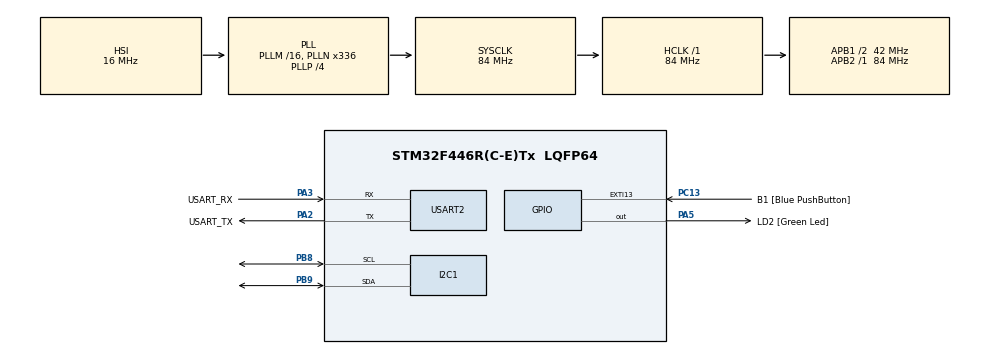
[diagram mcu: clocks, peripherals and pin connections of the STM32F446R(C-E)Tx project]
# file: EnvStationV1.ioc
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FREERTOS.Mutexes01=I2CMutex,Dynamic,NULL,Available
FREERTOS.Tasks01=defaultTask,24,128,StartDefaultTask,Default,NULL,Dynamic,NULL,NULL;ImuTask,24,512,StartImuTask,Default,NULL,Dynamic,NULL,NULL;DisplayTask,24,512,StartDisplayTask,Default,NULL,Dynamic,NULL,NULL;EnvTask,24,512,StartEnvTask,Default,NULL,Dynamic,NULL,NULL
FREERTOS.configUSE_NEWLIB_REENTRANT=1
Mcu.Family=STM32F4
Mcu.Name=STM32F446R(C-E)Tx
Mcu.Package=LQFP64
NVIC.PriorityGroup=NVIC_PRIORITYGROUP_4
NVIC.TIM6_DAC_IRQn=true\:15\:0\:false\:false\:true\:false\:false\:true\:true
NVIC.TimeBase=TIM6_DAC_IRQn
NVIC.TimeBaseIP=TIM6
PA13.GPIO_Label=TMS
PA13.Signal=SYS_JTMS-SWDIO
PA14.GPIO_Label=TCK
PA14.Signal=SYS_JTCK-SWCLK
PA2.GPIO_Label=USART_TX
PA2.Mode=Asynchronous
PA2.Signal=USART2_TX
PA3.GPIO_Label=USART_RX
PA3.Mode=Asynchronous
PA3.Signal=USART2_RX
PA5.GPIO_Label=LD2 [Green Led]
PA5.Signal=GPIO_Output
PB3.GPIO_Label=SWO
PB3.Signal=SYS_JTDO-SWO
PB8.Mode=I2C
PB8.Signal=I2C1_SCL
PB9.Mode=I2C
PB9.Signal=I2C1_SDA
PC13.GPIO_Label=B1 [Blue PushButton]
PC13.GPIO_ModeDefaultEXTI=GPIO_MODE_IT_FALLING
PC13.Signal=GPXTI13
PC14-OSC32_IN.Signal=RCC_OSC32_IN
PC15-OSC32_OUT.Signal=RCC_OSC32_OUT
PH0-OSC_IN.Signal=RCC_OSC_IN
PH1-OSC_OUT.Signal=RCC_OSC_OUT
ProjectManager.HeapSize=0x200
ProjectManager.StackSize=0x400
ProjectManager.TargetToolchain=STM32CubeIDE
RCC.AHBFreq_Value=84000000
RCC.APB1CLKDivider=RCC_HCLK_DIV2
RCC.APB1Freq_Value=42000000
RCC.APB1TimFreq_Value=84000000
RCC.APB2Freq_Value=84000000
RCC.APB2TimFreq_Value=84000000
RCC.CortexFreq_Value=84000000
RCC.FLatency-AdvancedSettings=FLASH_LATENCY_2
RCC.HCLKFreq_Value=84000000
RCC.HSE_VALUE=8000000
RCC.HSI_VALUE=16000000
RCC.LSE_VALUE=32768
RCC.PLLN=336
RCC.PLLP=RCC_PLLP_DIV4
RCC.SYSCLKFreq_VALUE=84000000
RCC.SYSCLKSource=RCC_SYSCLKSOURCE_PLLCLK
RCC.USBFreq_Value=168000000
RCC.VCOOutputFreq_Value=336000000
USART2.VirtualMode=VM_ASYNC
VP_FREERTOS_VS_CMSIS_V2.Mode=CMSIS_V2
VP_SYS_VS_tim6.Mode=TIM6
board=NUCLEO-F446RE

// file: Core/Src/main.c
/* USER CODE BEGIN Header */
/**
  ******************************************************************************
  * @file           : main.c
  * @brief          : Main program body
  ******************************************************************************
  * @attention
  *
  * Copyright (c) 2026 STMicroelectronics.
  * All rights reserved.
  *
  * This software is licensed under terms that can be found in the LICENSE file
  * in the root directory of this software component.
  * If no LICENSE file comes with this software, it is provided AS-IS.
  *
  ******************************************************************************
  */
/* USER CODE END Header */
#include "main.h"
#include "cmsis_os.h"

/* USER CODE BEGIN Includes */

#include "sh1106.h"
#include "imu.h"
#include "bmp.h"
#include <stdio.h>
#include <string.h>

/* USER CODE END Includes */

/* USER CODE BEGIN PTD */

typedef struct {
	uint8_t source;
    float accZ_g;
    float gyroZ_dps;
    float temp_c;
    float pressure_hpa;
} SensorMsg;

/* USER CODE END PTD */

/* USER CODE BEGIN PD */

#define G_TOP    18
#define G_BOTTOM 63
#define T_MIN    15.0f
#define T_MAX    35.0f

/* USER CODE END PD */

I2C_HandleTypeDef hi2c1;

UART_HandleTypeDef huart2;

/* Definitions for defaultTask */
osThreadId_t defaultTaskHandle;
const osThreadAttr_t defaultTask_attributes = {
  .name = "defaultTask",
  .stack_size = 128 * 4,
  .priority = (osPriority_t) osPriorityNormal,
};
/* Definitions for ImuTask */
osThreadId_t ImuTaskHandle;
const osThreadAttr_t ImuTask_attributes = {
  .name = "ImuTask",
  .stack_size = 512 * 4,
  .priority = (osPriority_t) osPriorityNormal,
};
/* Definitions for DisplayTask */
osThreadId_t DisplayTaskHandle;
const osThreadAttr_t DisplayTask_attributes = {
  .name = "DisplayTask",
  .stack_size = 512 * 4,
  .priority = (osPriority_t) osPriorityNormal,
};
/* Definitions for EnvTask */
osThreadId_t EnvTaskHandle;
const osThreadAttr_t EnvTask_attributes = {
  .name = "EnvTask",
  .stack_size = 512 * 4,
  .priority = (osPriority_t) osPriorityNormal,
};
/* Definitions for I2CMutex */
osMutexId_t I2CMutexHandle;
const osMutexAttr_t I2CMutex_attributes = {
  .name = "I2CMutex"
};
/* USER CODE BEGIN PV */

osMessageQueueId_t sensorQueue;
static float temp_hist[128];

/* USER CODE END PV */

void SystemClock_Config(void);
static void MX_GPIO_Init(void);
static void MX_I2C1_Init(void);
static void MX_USART2_UART_Init(void);
void StartDefaultTask(void *argument);
void StartImuTask(void *argument);
void StartDisplayTask(void *argument);
void StartEnvTask(void *argument);

int main(void)
{

  /* MCU Configuration--------------------------------------------------------*/

  /* Reset of all peripherals, Initializes the Flash interface and the Systick. */
  HAL_Init();

  /* Configure the system clock */
  SystemClock_Config();

  /* Initialize all configured peripherals */
  MX_GPIO_Init();
  MX_I2C1_Init();
  MX_USART2_UART_Init();
  /* USER CODE BEGIN 2 */

  BMP_Init(&hi2c1);
  SH1106_Init(&hi2c1);
  MPU9250_Init(&hi2c1);

  sensorQueue = osMessageQueueNew(8, sizeof(SensorMsg), NULL);

  /* USER CODE END 2 */

  /* Init scheduler */
  osKernelInitialize();
  /* Create the mutex(es) */
  /* creation of I2CMutex */
  I2CMutexHandle = osMutexNew(&I2CMutex_attributes);

  /* Create the thread(s) */
  /* creation of defaultTask */
  defaultTaskHandle = osThreadNew(StartDefaultTask, NULL, &defaultTask_attributes);

  /* creation of ImuTask */
  ImuTaskHandle = osThreadNew(StartImuTask, NULL, &ImuTask_attributes);

  /* creation of DisplayTask */
  DisplayTaskHandle = osThreadNew(StartDisplayTask, NULL, &DisplayTask_attributes);

  /* creation of EnvTask */
  EnvTaskHandle = osThreadNew(StartEnvTask, NULL, &EnvTask_attributes);

  /* Start scheduler */
  osKernelStart();

  /* We should never get here as control is now taken by the scheduler */

  /* Infinite loop */
  while (1)
  {

  }
}

void SystemClock_Config(void)
{
  RCC_OscInitTypeDef RCC_OscInitStruct = {0};
  RCC_ClkInitTypeDef RCC_ClkInitStruct = {0};

  /** Configure the main internal regulator output voltage
  */
  __HAL_RCC_PWR_CLK_ENABLE();
  __HAL_PWR_VOLTAGESCALING_CONFIG(PWR_REGULATOR_VOLTAGE_SCALE3);

  /** Initializes the RCC Oscillators according to the specified parameters
  * in the RCC_OscInitTypeDef structure.
  */
  RCC_OscInitStruct.OscillatorType = RCC_OSCILLATORTYPE_HSI;
  RCC_OscInitStruct.HSIState = RCC_HSI_ON;
  RCC_OscInitStruct.HSICalibrationValue = RCC_HSICALIBRATION_DEFAULT;
  RCC_OscInitStruct.PLL.PLLState = RCC_PLL_ON;
  RCC_OscInitStruct.PLL.PLLSource = RCC_PLLSOURCE_HSI;
  RCC_OscInitStruct.PLL.PLLM = 16;
  RCC_OscInitStruct.PLL.PLLN = 336;
  RCC_OscInitStruct.PLL.PLLP = RCC_PLLP_DIV4;
  RCC_OscInitStruct.PLL.PLLQ = 2;
  RCC_OscInitStruct.PLL.PLLR = 2;
  if (HAL_RCC_OscConfig(&RCC_OscInitStruct) != HAL_OK)
  {
    Error_Handler();
  }

  /** Initializes the CPU, AHB and APB buses clocks
  */
  RCC_ClkInitStruct.ClockType = RCC_CLOCKTYPE_HCLK|RCC_CLOCKTYPE_SYSCLK
                              |RCC_CLOCKTYPE_PCLK1|RCC_CLOCKTYPE_PCLK2;
  RCC_ClkInitStruct.SYSCLKSource = RCC_SYSCLKSOURCE_PLLCLK;
  RCC_ClkInitStruct.AHBCLKDivider = RCC_SYSCLK_DIV1;
  RCC_ClkInitStruct.APB1CLKDivider = RCC_HCLK_DIV2;
  RCC_ClkInitStruct.APB2CLKDivider = RCC_HCLK_DIV1;

  if (HAL_RCC_ClockConfig(&RCC_ClkInitStruct, FLASH_LATENCY_2) != HAL_OK)
  {
    Error_Handler();
  }
}

static void MX_I2C1_Init(void)
{

  hi2c1.Instance = I2C1;
  hi2c1.Init.ClockSpeed = 100000;
  hi2c1.Init.DutyCycle = I2C_DUTYCYCLE_2;
  hi2c1.Init.OwnAddress1 = 0;
  hi2c1.Init.AddressingMode = I2C_ADDRESSINGMODE_7BIT;
  hi2c1.Init.DualAddressMode = I2C_DUALADDRESS_DISABLE;
  hi2c1.Init.OwnAddress2 = 0;
  hi2c1.Init.GeneralCallMode = I2C_GENERALCALL_DISABLE;
  hi2c1.Init.NoStretchMode = I2C_NOSTRETCH_DISABLE;
  if (HAL_I2C_Init(&hi2c1) != HAL_OK)
  {
    Error_Handler();
  }

}

static void MX_USART2_UART_Init(void)
{

  huart2.Instance = USART2;
  huart2.Init.BaudRate = 115200;
  huart2.Init.WordLength = UART_WORDLENGTH_8B;
  huart2.Init.StopBits = UART_STOPBITS_1;
  huart2.Init.Parity = UART_PARITY_NONE;
  huart2.Init.Mode = UART_MODE_TX_RX;
  huart2.Init.HwFlowCtl = UART_HWCONTROL_NONE;
  huart2.Init.OverSampling = UART_OVERSAMPLING_16;
  if (HAL_UART_Init(&huart2) != HAL_OK)
  {
    Error_Handler();
  }

}

static void MX_GPIO_Init(void)
{
  GPIO_InitTypeDef GPIO_InitStruct = {0};

  /* GPIO Ports Clock Enable */
  __HAL_RCC_GPIOC_CLK_ENABLE();
  __HAL_RCC_GPIOH_CLK_ENABLE();
  __HAL_RCC_GPIOA_CLK_ENABLE();
  __HAL_RCC_GPIOB_CLK_ENABLE();

  /*Configure GPIO pin Output Level */
  HAL_GPIO_WritePin(LD2_GPIO_Port, LD2_Pin, GPIO_PIN_RESET);

  /*Configure GPIO pin : B1_Pin */
  GPIO_InitStruct.Pin = B1_Pin;
  GPIO_InitStruct.Mode = GPIO_MODE_IT_FALLING;
  GPIO_InitStruct.Pull = GPIO_NOPULL;
  HAL_GPIO_Init(B1_GPIO_Port, &GPIO_InitStruct);

  /*Configure GPIO pin : LD2_Pin */
  GPIO_InitStruct.Pin = LD2_Pin;
  GPIO_InitStruct.Mode = GPIO_MODE_OUTPUT_PP;
  GPIO_InitStruct.Pull = GPIO_NOPULL;
  GPIO_InitStruct.Speed = GPIO_SPEED_FREQ_LOW;
  HAL_GPIO_Init(LD2_GPIO_Port, &GPIO_InitStruct);

}

/* USER CODE BEGIN 4 */

static int temp_to_y(float t){
    if (t < T_MIN) t = T_MIN;
    if (t > T_MAX) t = T_MAX;
    return G_BOTTOM - (int)((t - T_MIN) / (T_MAX - T_MIN) * (G_BOTTOM - G_TOP));
}

/* USER CODE END 4 */

void StartDefaultTask(void *argument)
{
  for(;;)
  {
    osDelay(1);
  }
}

void StartImuTask(void *argument)
{
  /* USER CODE BEGIN StartImuTask */
	MPU9250_Data raw;          // <- Variablen VOR die for-Schleife
	SensorMsg msg_send;
  /* Infinite loop */
  for(;;)
  {
	  	  	osMutexAcquire(I2CMutexHandle, osWaitForever);
	        MPU9250_Read(&hi2c1, &raw);
	        osMutexRelease(I2CMutexHandle);

	        msg_send.accZ_g    = raw.accZ  / 16384.0f;
	        msg_send.gyroZ_dps = raw.gyroZ / 131.0f;
	        msg_send.source = 0;

	        osMessageQueuePut(sensorQueue, &msg_send, 0, osWaitForever); //Wichtig: &msg kopiert msg in die Queue rein!!!
	        osDelay(100);
  }
  /* USER CODE END StartImuTask */
}

void StartDisplayTask(void *argument)
{
  /* USER CODE BEGIN StartDisplayTask */
	SensorMsg msg;
	float accZ = 0, gyroZ = 0, temp = 0, press = 0;
	char l1[24], l2[24];
  /* Infinite loop */
  for(;;)
  {
	  	    osMessageQueueGet(sensorQueue, &msg, NULL, osWaitForever);

	        if (msg.source == 0) {        // vom IMU
	            accZ  = msg.accZ_g;
	            gyroZ = msg.gyroZ_dps;
	            continue;
	        }

	        temp  = msg.temp_c;
	        press = msg.pressure_hpa;
	        for (int i = 0; i < 127; i++) temp_hist[i] = temp_hist[i+1];
	        temp_hist[127] = temp;          // neuen Temp-Punkt anhängen

	        SH1106_Clear();

	        sprintf(l1, "AccZ:%.2f Gyro:%.1f", accZ, gyroZ);
	        sprintf(l2, "Temp:%.1fC P:%.0fhPa", temp, press);
	        SH1106_DrawString(0, 0, l1);
	        SH1106_DrawString(0, 9, l2);

	        for (int x = 1; x < 128; x++) {
	             SH1106_DrawLine(x-1, temp_to_y(temp_hist[x-1]),
	             x,   temp_to_y(temp_hist[x]));
	        }

	        osMutexAcquire(I2CMutexHandle, osWaitForever);
	        SH1106_Flush(&hi2c1);
	        osMutexRelease(I2CMutexHandle);
  }
  /* USER CODE END StartDisplayTask */
}

void StartEnvTask(void *argument)
{
  /* USER CODE BEGIN StartEnvTask */
	SensorMsg msg_send;
	BMP280_Data env;
  /* Infinite loop */
  for(;;)
  {
	  	  	osMutexAcquire(I2CMutexHandle, osWaitForever);
	        BMP_Read(&hi2c1, &env);
	        osMutexRelease(I2CMutexHandle);

	        msg_send.source       = 1;
	        msg_send.temp_c       = env.temp_c;
	        msg_send.pressure_hpa = env.pressure_hpa;

	        osMessageQueuePut(sensorQueue, &msg_send, 0, osWaitForever);
	        osDelay(1000);   // Umwelt ändert sich langsam -> selten messen
  }
  /* USER CODE END StartEnvTask */
}

void HAL_TIM_PeriodElapsedCallback(TIM_HandleTypeDef *htim)
{
  if (htim->Instance == TIM6)
  {
    HAL_IncTick();
  }
}

void Error_Handler(void)
{
  __disable_irq();
  while (1)
  {
  }
}
